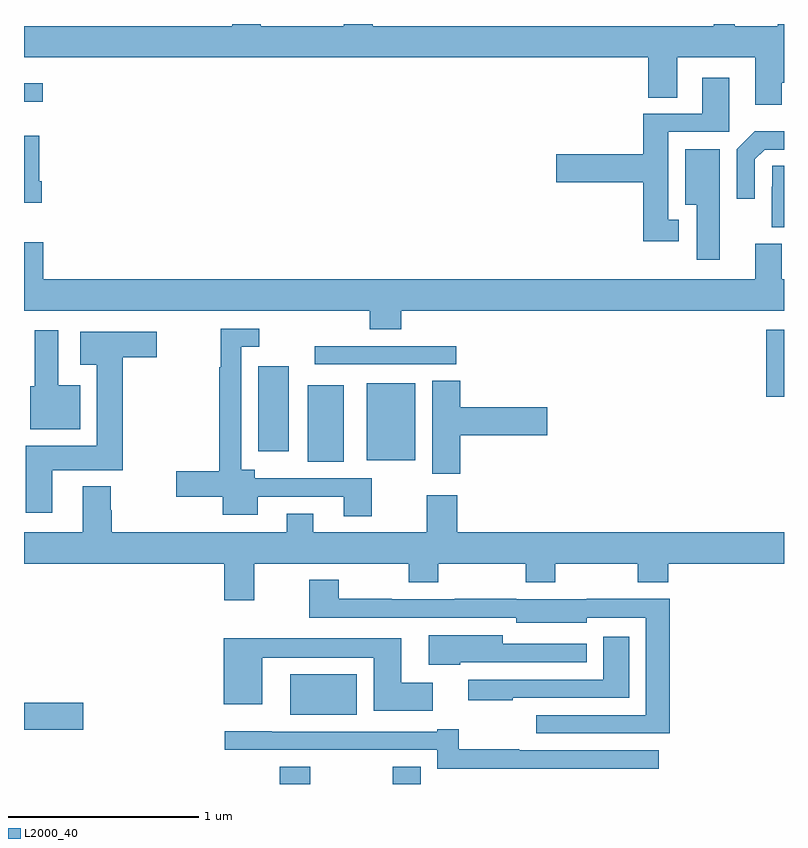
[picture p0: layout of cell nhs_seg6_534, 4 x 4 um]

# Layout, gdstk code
import gdstk
lib = gdstk.Library(unit=1e-6, precision=1e-09)
def R(c, l, rs):  # rectangles x0, y0, x1, y1
    for r in rs: c.add(gdstk.rectangle(r[:2], r[2:], *l))
def P(c, l, *ps):  # polygons
    for p in ps: c.add(gdstk.Polygon(p, *l))
L2000_40 = (2000, 40)

nhs_seg6_534 = lib.new_cell('nhs_seg6_534')
R(nhs_seg6_534, L2000_40, [(144.347,955.5,144.507,955.591), (144.94,955.5,145.087,955.591), (143,955.786,143.311,955.928), (144.401,955.865,144.751,956.077), (144.494,957.197,144.682,957.598), (144.803,957.203,145.06,957.61), (144.233,957.252,144.394,957.7), (146.906,957.539,147,957.892), (144.531,957.708,145.276,957.804), (143,959.091,143.098,959.188)])
P(nhs_seg6_534, L2000_40, [(146.989,959.191),(147,959.191),(147,959.5),(146.966,959.5),(146.966,959.488),(146.742,959.488),(146.742,959.5),(146.631,959.5),(146.631,959.488),(144.836,959.488),(144.836,959.5),(144.683,959.5),(144.683,959.488),(144.247,959.488),(144.247,959.5),(144.095,959.5),(144.095,959.488),(143,959.488),(143,959.324),(146.285,959.324),(146.285,959.113),(146.437,959.113),(146.437,959.324),(146.849,959.324),(146.849,959.076),(146.989,959.076)],
  [(146.446,958.469),(146.392,958.469),(146.392,958.932),(146.713,958.932),(146.713,959.218),(146.57,959.218),(146.57,959.028),(146.258,959.028),(146.258,958.814),(145.8,958.814),(145.8,958.667),(146.258,958.667),(146.258,958.356),(146.446,958.356)],
  [(146.847,958.788),(146.898,958.839),(147,958.839),(147,958.936),(146.845,958.936),(146.751,958.842),(146.751,958.581),(146.847,958.581)],
  [(143.093,958.672),(143.08,958.672),(143.08,958.912),(143,958.912),(143,958.56),(143.093,958.56)],
  [(146.662,958.84),(146.48,958.84),(146.48,958.55),(146.54,958.55),(146.54,958.26),(146.662,958.26)],
  [(147,958.754),(146.937,958.754),(146.937,958.643),(146.936,958.643),(146.936,958.429),(147,958.429)],
  [(144.986,957.992),(147,957.992),(147,958.156),(146.989,958.156),(146.989,958.344),(146.849,958.344),(146.849,958.156),(143.102,958.156),(143.102,958.351),(143,958.351),(143,957.992),(144.821,957.992),(144.821,957.893),(144.986,957.893)],
  [(144.831,957.108),(144.214,957.108),(144.214,957.154),(144.144,957.154),(144.144,957.801),(144.238,957.801),(144.238,957.897),(144.036,957.897),(144.036,957.694),(144.028,957.694),(144.028,957.146),(143.802,957.146),(143.802,957.011),(144.047,957.011),(144.047,956.918),(144.229,956.918),(144.229,957.012),(144.683,957.012),(144.683,956.91),(144.831,956.91)],
  [(143.296,957.598),(143.179,957.598),(143.179,957.889),(143.057,957.889),(143.057,957.594),(143.033,957.594),(143.033,957.368),(143.296,957.368)],
  [(143.149,957.152),(143.519,957.152),(143.519,957.746),(143.698,957.746),(143.698,957.88),(143.297,957.88),(143.297,957.707),(143.384,957.707),(143.384,957.28),(143.009,957.28),(143.009,956.928),(143.149,956.928)],
  [(145.295,957.335),(145.753,957.335),(145.753,957.482),(145.295,957.482),(145.295,957.623),(145.148,957.623),(145.148,957.132),(145.295,957.132)],
  [(144.213,956.66),(145.024,956.66),(145.024,956.561),(145.179,956.561),(145.179,956.66),(145.642,956.66),(145.642,956.561),(145.797,956.561),(145.797,956.66),(146.23,956.66),(146.23,956.561),(146.39,956.561),(146.39,956.66),(147,956.66),(147,956.824),(145.28,956.824),(145.28,957.019),(145.12,957.019),(145.12,956.824),(144.523,956.824),(144.523,956.923),(144.383,956.923),(144.383,956.824),(143.462,956.824),(143.462,956.94),(143.457,956.94),(143.457,957.067),(143.309,957.067),(143.309,956.824),(143,956.824),(143,956.66),(144.053,956.66),(144.053,956.466),(144.213,956.466)],
  [(146.399,956.474),(145.962,956.474),(145.962,956.472),(145.59,956.472),(145.59,956.474),(145.267,956.474),(145.267,956.472),(144.935,956.472),(144.935,956.474),(144.657,956.474),(144.657,956.575),(144.502,956.575),(144.502,956.376),(145.59,956.376),(145.59,956.348),(145.962,956.348),(145.962,956.376),(146.273,956.376),(146.273,955.863),(145.695,955.863),(145.695,955.767),(146.399,955.767)],
  [(145.296,956.142),(145.963,956.142),(145.963,956.238),(145.519,956.238),(145.519,956.284),(145.131,956.284),(145.131,956.127),(145.296,956.127)],
  [(145.573,955.953),(146.185,955.953),(146.185,956.275),(146.048,956.275),(146.048,956.049),(145.337,956.049),(145.337,955.94),(145.573,955.94)],
  [(145.15,956.032),(144.985,956.032),(144.985,956.266),(144.05,956.266),(144.05,955.919),(144.253,955.919),(144.253,956.165),(144.842,956.165),(144.842,955.886),(145.15,955.886)],
  [(146.341,955.677),(145.607,955.677),(145.607,955.682),(145.289,955.682),(145.289,955.789),(145.175,955.789),(145.175,955.776),(144.305,955.776),(144.305,955.777),(144.057,955.777),(144.057,955.68),(144.595,955.68),(144.595,955.679),(144.851,955.679),(144.851,955.68),(145.175,955.68),(145.175,955.581),(146.341,955.581)])

lib.write_gds('nhs_seg6_534.gds')
